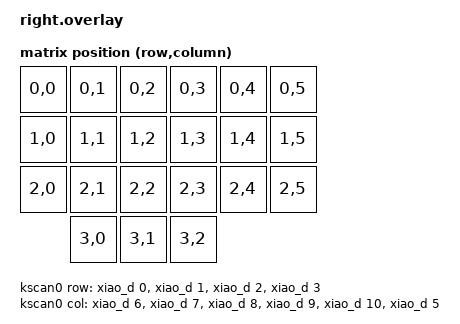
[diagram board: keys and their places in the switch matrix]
// Copyright (c) 2025
// SPDX-License-Identifier: MIT

/dts-v1/;
/plugin/;

/ {
    chosen {
        zmk,kscan = &kscan0;
        zmk,matrix-transform = &default_transform;
    };

    default_transform: keymap_transform_0 {
        compatible = "zmk,matrix-transform";
        columns = <6>;
        rows = <4>;
        
        // Matrix to key position mapping
        // Row 0: SW1,  SW4,  SW7,  SW10, SW14, SW18
        // Row 1: SW2,  SW5,  SW8,  SW11, SW15, SW19
        // Row 2: SW3,  SW6,  SW9,  SW12, SW16, SW20
        // Row 3: SW13, SW17, SW21
        
        map = <
            RC(0,0) RC(0,1) RC(0,2) RC(0,3) RC(0,4) RC(0,5)
            RC(1,0) RC(1,1) RC(1,2) RC(1,3) RC(1,4) RC(1,5)
            RC(2,0) RC(2,1) RC(2,2) RC(2,3) RC(2,4) RC(2,5)
                    RC(3,0) RC(3,1) RC(3,2)
        >;
    };

    kscan0: kscan_0 {
        compatible = "zmk,kscan-gpio-matrix";
        diode-direction = "col2row";
        
        col-gpios
            = <&xiao_d 6 GPIO_ACTIVE_HIGH>  // col0 - D6/TX
            , <&xiao_d 7 GPIO_ACTIVE_HIGH>  // col1 - D7/RX
            , <&xiao_d 8 GPIO_ACTIVE_HIGH>  // col2 - D8/SCL
            , <&xiao_d 9 GPIO_ACTIVE_HIGH>  // col3 - D9/SDA
            , <&xiao_d 10 GPIO_ACTIVE_HIGH> // col4 - D10/MISO
            , <&xiao_d 5 GPIO_ACTIVE_HIGH>  // col5 - D5
            ;
        
        row-gpios
            = <&xiao_d 0 (GPIO_ACTIVE_HIGH | GPIO_PULL_DOWN)>  // row0 - D0
            , <&xiao_d 1 (GPIO_ACTIVE_HIGH | GPIO_PULL_DOWN)>  // row1 - D1
            , <&xiao_d 2 (GPIO_ACTIVE_HIGH | GPIO_PULL_DOWN)>  // row2 - D2
            , <&xiao_d 3 (GPIO_ACTIVE_HIGH | GPIO_PULL_DOWN)>  // row3 - D3
            ;
    };
};

// OLED display configuration
&xiao_i2c {
    status = "okay";
    
    oled: ssd1306@3c {
        compatible = "solomon,ssd1306fb";
        reg = <0x3c>;
        width = <128>;
        height = <32>;
        segment-offset = <0>;
        page-offset = <0>;
        display-offset = <0>;
        multiplex-ratio = <31>;
        prechargep = <0x22>;
    };
};
